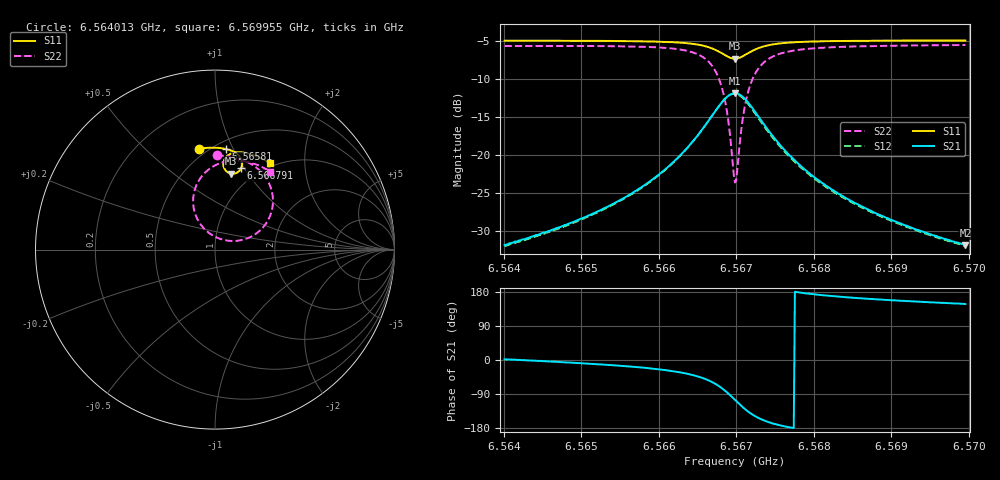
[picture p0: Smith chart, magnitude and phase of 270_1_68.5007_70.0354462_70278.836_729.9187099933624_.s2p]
#  HZ  S  RI  R  50.00
! Rohde & Schwarz Vector Network Analyzer
! Rohde-Schwarz,ZNB20-2Port,1311601062101988,3.16
! Created: UTC 3/20/2024, 5:00:43 PM
! freq[Hz]  re:S11  im:S11  re:S21  im:S21  re:S12  im:S12  re:S22  im:S22
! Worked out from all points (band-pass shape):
!   401 points, 6.564013 GHz to 6.569955 GHz, reference 50 ohm
!   highest |S21| = -11.83 dB at 6.566984 GHz (marker M1); lowest = -31.9 dB at 6.569955 GHz (marker M2)
!   |S21| within 3 dB of the highest: 6.566686 GHz to 6.56728 GHz (594.1 kHz wide, 0.00905 % of centre)
!   lowest |S11| = -7.3 dB at 6.566984 GHz (marker M3), VSWR 2.53, Z = 40.1 + j41.9 ohm
!   |S11| at or under -10 dB: nowhere
!   |S22| runs from -23.6 to -5.5 dB; largest |S21 - S12| = 0.012
!   S11 on the Smith chart (normalised r, x): 6.564013 GHz: 0.45, +0.75; 6.56581 GHz: 0.57, +0.94; 6.566791 GHz: 0.83, +0.97; 6.569955 GHz: 0.95, +1.35
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6.5640125e9  -0.0891 0.5621  0.0256 0.000844  0.0251 0.000424  0.00932 0.5246
6.5650079e9  -0.009 0.568  0.0378 -0.0057  0.0372 -0.0063  0.0994 0.5155
6.5658102e9  0.0626 0.5601  0.0591 -0.0221  0.0583 -0.0227  0.1932 0.4813
6.5660033e9  0.0818 0.5547  0.0677 -0.031  0.0667 -0.0318  0.2222 0.463
6.5663301e9  0.1175 0.5372  0.0875 -0.0606  0.086 -0.0618  0.2803 0.4045
6.566553e9  0.1422 0.5109  0.1002 -0.1062  0.0979 -0.108  0.3185 0.3167
6.5666867e9  0.1512 0.4832  0.0959 -0.1541  0.0922 -0.1568  0.318 0.225
6.5667907e9  0.1466 0.4546  0.0704 -0.2033  0.0643 -0.2059  0.2747 0.1325
6.5668798e9  0.1269 0.4315  0.0201 -0.2411  0.0108 -0.2416  0.1834 0.0639
6.5669541e9  0.0994 0.4228  -0.0415 -0.2516  -0.052 -0.2481  0.0736 0.0495
6.5669838e9  0.0875 0.424  -0.0676 -0.2471  -0.0776 -0.2419  0.0282 0.0597
6.5670136e9  0.076 0.4279  -0.0923 -0.2377  -0.1014 -0.2306  -0.0136 0.0791
6.567073e9  0.0577 0.4426  -0.1323 -0.2064  -0.1385 -0.1973  -0.0786 0.1381
6.5671324e9  0.048 0.4618  -0.1559 -0.1678  -0.1592 -0.158  -0.1132 0.2087
6.5671918e9  0.0464 0.481  -0.1647 -0.1299  -0.1655 -0.1208  -0.1218 0.2756
6.5672661e9  0.0519 0.501  -0.1622 -0.0905  -0.161 -0.083  -0.1094 0.3434
6.567385e9  0.0686 0.5225  -0.145 -0.048  -0.1423 -0.0428  -0.0685 0.415
6.5675335e9  0.0915 0.5358  -0.1205 -0.0191  -0.1179 -0.0159  -0.0145 0.4611
6.5679792e9  0.1479 0.5421  -0.0729 0.00788  -0.0712 0.00896  0.0991 0.4961
6.5684695e9  0.195 0.5328  -0.0486 0.0132  -0.0474 0.0137  0.1734 0.4906
6.5689746e9  0.2364 0.5182  -0.0351 0.0142  -0.0345 0.0144  0.228 0.4749
6.5699552e9  0.3066 0.4818  -0.0215 0.0136  -0.0213 0.0137  0.3085 0.4344
